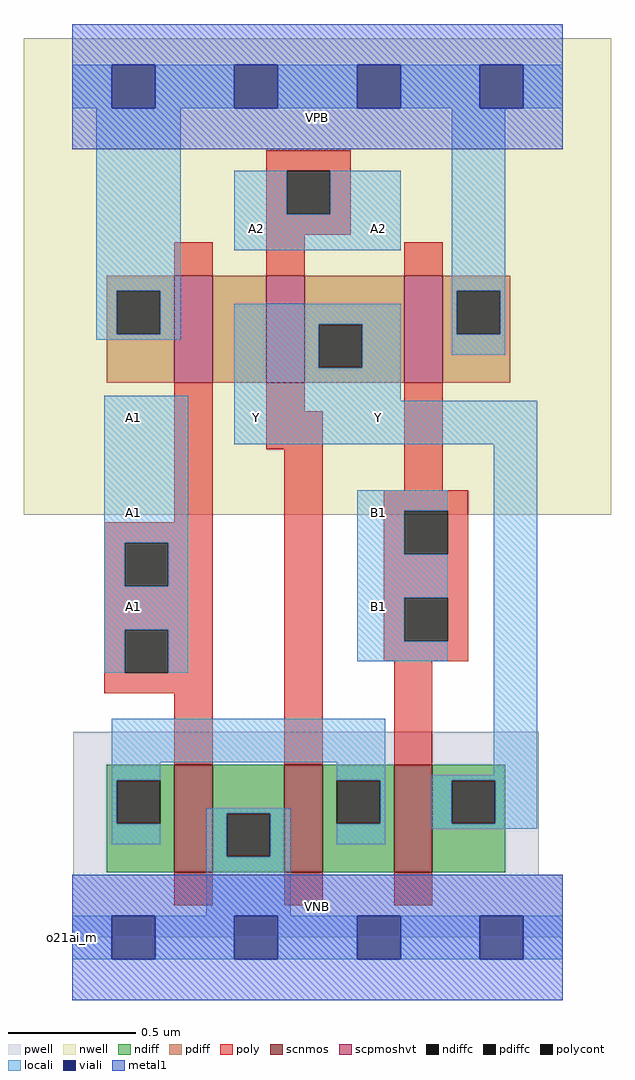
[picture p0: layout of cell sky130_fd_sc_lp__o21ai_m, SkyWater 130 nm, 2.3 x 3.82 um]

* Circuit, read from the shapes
.subckt sky130_fd_sc_lp__o21ai_m A1 A2 B1 VGND VNB VPB VPWR Y
XM1 VGND A1 n1 VNB sky130_fd_pr__nfet_01v8 w=0.42 l=0.15
XM2 n1 A2 VGND VNB sky130_fd_pr__nfet_01v8 w=0.42 l=0.15
XM3 Y B1 n1 VNB sky130_fd_pr__nfet_01v8 w=0.42 l=0.15
XM4 n2 A1 VPWR VPB sky130_fd_pr__pfet_01v8_hvt w=0.42 l=0.15
XM5 Y A2 n2 VPB sky130_fd_pr__pfet_01v8_hvt w=0.42 l=0.15
XM6 VPWR B1 Y VPB sky130_fd_pr__pfet_01v8_hvt w=0.42 l=0.15
.ends

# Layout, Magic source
magic
tech sky130A
magscale 1 2
<< nwell >>
rect -38 331 422 704
<< pwell >>
rect 1 49 365 161
rect 0 0 384 49
<< scnmos >>
rect 80 51 110 135
rect 166 51 196 135
rect 252 51 282 135
<< scpmoshvt >>
rect 80 434 110 518
rect 152 434 182 518
rect 260 434 290 518
<< ndiff >>
rect 27 123 80 135
rect 27 89 35 123
rect 69 89 80 123
rect 27 51 80 89
rect 110 97 166 135
rect 110 63 121 97
rect 155 63 166 97
rect 110 51 166 63
rect 196 123 252 135
rect 196 89 207 123
rect 241 89 252 123
rect 196 51 252 89
rect 282 123 339 135
rect 282 89 297 123
rect 331 89 339 123
rect 282 51 339 89
<< pdiff >>
rect 27 506 80 518
rect 27 472 35 506
rect 69 472 80 506
rect 27 434 80 472
rect 110 434 152 518
rect 182 480 260 518
rect 182 446 193 480
rect 227 446 260 480
rect 182 434 260 446
rect 290 506 343 518
rect 290 472 301 506
rect 335 472 343 506
rect 290 434 343 472
<< ndiffc >>
rect 35 89 69 123
rect 121 63 155 97
rect 207 89 241 123
rect 297 89 331 123
<< pdiffc >>
rect 35 472 69 506
rect 193 446 227 480
rect 301 472 335 506
<< poly >>
rect 152 600 218 616
rect 152 566 168 600
rect 202 566 218 600
rect 152 550 218 566
rect 80 518 110 544
rect 152 518 182 550
rect 260 518 290 544
rect 80 325 110 434
rect 152 412 182 434
rect 152 382 196 412
rect 25 309 110 325
rect 25 275 41 309
rect 75 275 110 309
rect 25 241 110 275
rect 25 207 41 241
rect 75 207 110 241
rect 25 191 110 207
rect 80 135 110 191
rect 166 135 196 382
rect 260 350 290 434
rect 244 334 310 350
rect 244 300 260 334
rect 294 300 310 334
rect 244 266 310 300
rect 244 232 260 266
rect 294 232 310 266
rect 244 216 310 232
rect 252 135 282 216
rect 80 25 110 51
rect 166 25 196 51
rect 252 25 282 51
<< polycont >>
rect 168 566 202 600
rect 41 275 75 309
rect 41 207 75 241
rect 260 300 294 334
rect 260 232 294 266
<< locali >>
rect 0 649 31 683
rect 65 649 127 683
rect 161 649 223 683
rect 257 649 319 683
rect 353 649 384 683
rect 19 506 85 649
rect 127 566 168 600
rect 202 566 257 600
rect 127 538 257 566
rect 19 472 35 506
rect 69 472 85 506
rect 297 506 339 649
rect 19 468 85 472
rect 127 480 257 496
rect 127 446 193 480
rect 227 446 257 480
rect 297 472 301 506
rect 335 472 339 506
rect 297 456 339 472
rect 25 309 91 424
rect 127 420 257 446
rect 127 386 364 420
rect 25 275 41 309
rect 75 275 91 309
rect 25 241 91 275
rect 25 207 41 241
rect 75 207 91 241
rect 223 334 294 350
rect 223 300 260 334
rect 223 266 294 300
rect 223 232 260 266
rect 223 216 294 232
rect 31 137 245 171
rect 31 123 69 137
rect 31 89 35 123
rect 207 123 245 137
rect 330 127 364 386
rect 31 73 69 89
rect 105 97 171 101
rect 105 63 121 97
rect 155 63 171 97
rect 241 89 245 123
rect 207 73 245 89
rect 281 123 364 127
rect 281 89 297 123
rect 331 89 364 123
rect 281 85 364 89
rect 105 17 171 63
rect 0 -17 31 17
rect 65 -17 127 17
rect 161 -17 223 17
rect 257 -17 319 17
rect 353 -17 384 17
<< viali >>
rect 31 649 65 683
rect 127 649 161 683
rect 223 649 257 683
rect 319 649 353 683
rect 31 -17 65 17
rect 127 -17 161 17
rect 223 -17 257 17
rect 319 -17 353 17
<< metal1 >>
rect 0 683 384 715
rect 0 649 31 683
rect 65 649 127 683
rect 161 649 223 683
rect 257 649 319 683
rect 353 649 384 683
rect 0 617 384 649
rect 0 17 384 49
rect 0 -17 31 17
rect 65 -17 127 17
rect 161 -17 223 17
rect 257 -17 319 17
rect 353 -17 384 17
rect 0 -49 384 -17
<< labels >>
flabel pwell s 0 0 384 49 0 FreeSans 200 0 0 0 VNB
port 5 nsew ground bidirectional
flabel nwell s 0 617 384 666 0 FreeSans 200 0 0 0 VPB
port 6 nsew power bidirectional
rlabel comment s 0 0 0 0 4 o21ai_m
flabel metal1 s 0 617 384 666 0 FreeSans 340 0 0 0 VPWR
port 7 nsew power bidirectional
flabel metal1 s 0 0 384 49 0 FreeSans 340 0 0 0 VGND
port 4 nsew ground bidirectional
flabel locali s 31 242 65 276 0 FreeSans 340 0 0 0 A1
port 1 nsew signal input
flabel locali s 31 316 65 350 0 FreeSans 340 0 0 0 A1
port 1 nsew signal input
flabel locali s 31 390 65 424 0 FreeSans 340 0 0 0 A1
port 1 nsew signal input
flabel locali s 127 538 161 572 0 FreeSans 340 0 0 0 A2
port 2 nsew signal input
flabel locali s 223 538 257 572 0 FreeSans 340 0 0 0 A2
port 2 nsew signal input
flabel locali s 127 390 161 424 0 FreeSans 340 0 0 0 Y
port 8 nsew signal output
flabel locali s 223 390 257 424 0 FreeSans 340 0 0 0 Y
port 8 nsew signal output
flabel locali s 223 242 257 276 0 FreeSans 340 0 0 0 B1
port 3 nsew signal input
flabel locali s 223 316 257 350 0 FreeSans 340 0 0 0 B1
port 3 nsew signal input
<< properties >>
string LEFsite unit
string LEFclass CORE
string FIXED_BBOX 0 0 384 666
string GDS_FILE $PDKPATH/libs.ref/sky130_fd_sc_lp/gds/sky130_fd_sc_lp.gds
string LEFsymmetry X Y R90
string GDS_END 4536936
string GDS_START 4532060
<< end >>
